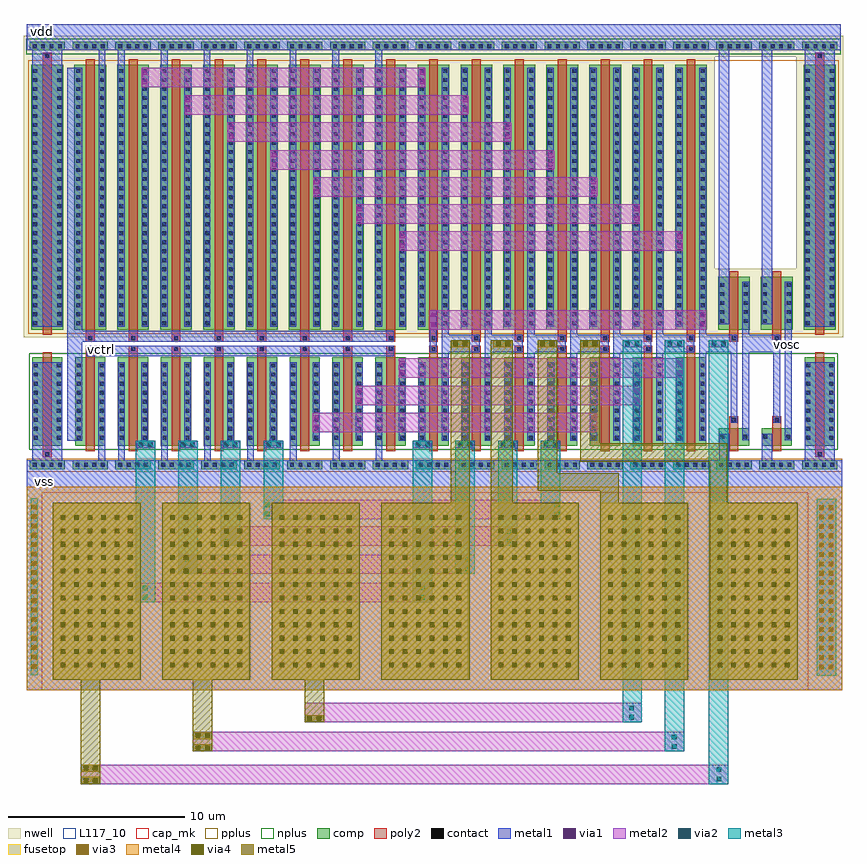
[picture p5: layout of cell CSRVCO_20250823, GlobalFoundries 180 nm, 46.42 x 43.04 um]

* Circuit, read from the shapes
.subckt CSRVCO_20250823 vctrl vdd vosc vss
XM1 vss vss vss vss nfet_03v3 w=5u l=0.5u m=2
XM2 vss vctrl n1 vss nfet_03v3 w=5u l=0.5u
XM3 n2 vctrl vss vss nfet_03v3 w=5u l=0.5u
XM4 n3 vctrl vss vss nfet_03v3 w=5u l=0.5u
XM5 n4 vctrl vss vss nfet_03v3 w=5u l=0.5u
XM6 n5 vctrl vss vss nfet_03v3 w=5u l=0.5u
XM7 n6 vctrl vss vss nfet_03v3 w=5u l=0.5u
XM8 n7 vctrl vss vss nfet_03v3 w=5u l=0.5u
XM9 n8 vctrl vss vss nfet_03v3 w=5u l=0.5u
XM10 n9 n10 n2 vss nfet_03v3 w=5u l=0.5u
XM11 n11 n9 n3 vss nfet_03v3 w=5u l=0.5u
XM12 n12 n11 n4 vss nfet_03v3 w=5u l=0.5u
XM13 n13 n12 n5 vss nfet_03v3 w=5u l=0.5u
XM14 n14 n13 n6 vss nfet_03v3 w=5u l=0.5u
XM15 n15 n14 n7 vss nfet_03v3 w=5u l=0.5u
XM16 n10 n15 n8 vss nfet_03v3 w=5u l=0.5u
XM17 n16 n10 vss vss nfet_03v3 w=1u l=0.5u
XM18 vosc n16 vss vss nfet_03v3 w=1u l=0.5u
XM19 vdd vdd vdd vdd pfet_03v3 w=15u l=0.5u m=2
XM20 vdd n1 n1 vdd pfet_03v3 w=15u l=0.5u
XM21 n17 n1 vdd vdd pfet_03v3 w=15u l=0.5u
XM22 n18 n1 vdd vdd pfet_03v3 w=15u l=0.5u
XM23 n19 n1 vdd vdd pfet_03v3 w=15u l=0.5u
XM24 n20 n1 vdd vdd pfet_03v3 w=15u l=0.5u
XM25 n21 n1 vdd vdd pfet_03v3 w=15u l=0.5u
XM26 n22 n1 vdd vdd pfet_03v3 w=15u l=0.5u
XM27 n23 n1 vdd vdd pfet_03v3 w=15u l=0.5u
XM28 n9 n10 n17 vdd pfet_03v3 w=15u l=0.5u
XM29 n11 n9 n18 vdd pfet_03v3 w=15u l=0.5u
XM30 n12 n11 n19 vdd pfet_03v3 w=15u l=0.5u
XM31 n13 n12 n20 vdd pfet_03v3 w=15u l=0.5u
XM32 n14 n13 n21 vdd pfet_03v3 w=15u l=0.5u
XM33 n15 n14 n22 vdd pfet_03v3 w=15u l=0.5u
XM34 n10 n15 n23 vdd pfet_03v3 w=15u l=0.5u
XM35 n16 n10 vdd vdd pfet_03v3 w=3u l=0.5u
XM36 vosc n16 vdd vdd pfet_03v3 w=3u l=0.5u
XC37 n10 vss cap_mim_2f0fF c_width=5u c_length=10u
XC38 n15 vss cap_mim_2f0fF c_width=5u c_length=10u
XC39 n14 vss cap_mim_2f0fF c_width=5u c_length=10u
XC40 n9 vss cap_mim_2f0fF c_width=5u c_length=10u
XC41 n11 vss cap_mim_2f0fF c_width=5u c_length=10u
XC42 n12 vss cap_mim_2f0fF c_width=5u c_length=10u
XC43 n13 vss cap_mim_2f0fF c_width=5u c_length=10u
.ends

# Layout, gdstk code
from math import pi, radians
import gdstk
lib = gdstk.Library(unit=1e-6, precision=1e-09)
def R(c, l, rs):  # rectangles x0, y0, x1, y1
    for r in rs: c.add(gdstk.rectangle(r[:2], r[2:], *l))
def A(c, l, x, y, w, h, nx, ny, dx, dy):  # array of equal rectangles
    R(c, l, [(x+i*dx, y+j*dy, x+i*dx+w, y+j*dy+h) for i in range(nx) for j in range(ny)])
nwell = (21, 0)
comp = (22, 0)
poly2 = (30, 0)
pplus = (31, 0)
nplus = (32, 0)
contact = (33, 0)
metal1 = (34, 0)
via1 = (35, 0)
metal2 = (36, 0)
via2 = (38, 0)
via3 = (40, 0)
via4 = (41, 0)
metal3 = (42, 0)
metal4 = (46, 0)
fusetop = (75, 0)
metal5 = (81, 0)
cap_mk = (117, 5)
L117_10 = (117, 10)

via_dev_890 = lib.new_cell('via_dev$890')
R(via_dev_890, comp, [(0,0,2,0.5)])
A(via_dev_890, contact, 0.17, 0.14, 0.22, 0.22, 4, 1, 0.48, 0)
R(via_dev_890, metal1, [(0,0,2,0.5)])

nfet_300 = lib.new_cell('nfet$300')
R(nfet_300, comp, [(-0.42,0,0,5), (0,0,0.88,5), (0.88,0,1.3,5)])
R(nfet_300, poly2, [(0.19,-0.3,0.69,5.3), (0.19,5.3,0.69,5.66)])
R(nfet_300, nplus, [(-0.59,-0.24,1.47,5.24)])
A(nfet_300, contact, -0.32, 0.35, 0.22, 0.22, 1, 9, 0, 0.51)
A(nfet_300, contact, 0.98, 0.35, 0.22, 0.22, 1, 9, 0, 0.51)
R(nfet_300, contact, [(0.33,5.37,0.55,5.59)])
R(nfet_300, metal1, [(-0.4,0.27,-0.02,4.73), (0.9,0.27,1.28,4.73), (0.25,5.29,0.63,5.67)])

pfet_280 = lib.new_cell('pfet$280')
R(pfet_280, nwell, [(-0.9,-0.44,1.78,15.44)])
R(pfet_280, comp, [(-0.46,0,0,15), (0,0,0.88,15), (0.88,0,1.34,15)])
R(pfet_280, poly2, [(0.19,-0.68,0.69,-0.3), (0.19,-0.3,0.69,15.3)])
R(pfet_280, pplus, [(-0.63,-0.24,1.51,15.24)])
A(pfet_280, contact, -0.34, 0.25, 0.22, 0.22, 1, 29, 0, 0.51)
A(pfet_280, contact, 1, 0.25, 0.22, 0.22, 1, 29, 0, 0.51)
R(pfet_280, contact, [(0.33,-0.6,0.55,-0.38)])
R(pfet_280, metal1, [(0.25,-0.68,0.63,-0.3), (-0.42,0.17,-0.04,14.83), (0.92,0.17,1.3,14.83)])

nfet_301 = lib.new_cell('nfet$301')
R(nfet_301, comp, [(-0.42,0,0,5), (0,0,0.88,5), (0.88,0,1.3,5)])
R(nfet_301, poly2, [(0.19,-0.66,0.69,-0.3), (0.19,-0.3,0.69,5.3)])
R(nfet_301, nplus, [(-0.59,-0.24,1.47,5.24)])
A(nfet_301, contact, -0.32, 0.35, 0.22, 0.22, 1, 9, 0, 0.51)
A(nfet_301, contact, 0.98, 0.35, 0.22, 0.22, 1, 9, 0, 0.51)
R(nfet_301, contact, [(0.33,-0.59,0.55,-0.37)])
R(nfet_301, metal1, [(0.25,-0.67,0.63,-0.29), (-0.4,0.27,-0.02,4.73), (0.9,0.27,1.28,4.73)])

via_dev_891 = lib.new_cell('via_dev$891')
R(via_dev_891, metal1, [(0,0,1.1,0.4)])
R(via_dev_891, via1, [(0.155,0.07,0.415,0.33), (0.685,0.07,0.945,0.33)])
R(via_dev_891, metal2, [(0,0,1.1,0.4)])

via_dev_892 = lib.new_cell('via_dev$892')
R(via_dev_892, metal1, [(0,0,1.1,0.4)])
R(via_dev_892, via1, [(0.155,0.07,0.415,0.33), (0.685,0.07,0.945,0.33)])
R(via_dev_892, metal2, [(0,0,1.1,0.4)])
R(via_dev_892, via2, [(0.155,0.07,0.415,0.33), (0.685,0.07,0.945,0.33)])
R(via_dev_892, metal3, [(0,0,1.1,0.4)])

cap_mim = lib.new_cell('cap_mim')
A(cap_mim, via4, 0.69, 0.47, 0.26, 0.26, 12, 6, 0.76, 0.76)
R(cap_mim, metal4, [(-0.6,-0.6,10.6,5.6)])
R(cap_mim, fusetop, [(0,0,10,5)])
R(cap_mim, metal5, [(0,0,10,5)])
R(cap_mim, cap_mk, [(-0.6,-0.6,10.6,5.6)])
R(cap_mim, L117_10, [(0,0,10,0.1)])

pfet_281 = lib.new_cell('pfet$281')
R(pfet_281, nwell, [(-0.9,-0.44,1.78,15.44)])
R(pfet_281, comp, [(-0.46,0,0,15), (0,0,0.88,15), (0.88,0,1.34,15)])
R(pfet_281, poly2, [(0.19,-0.3,0.69,15.3), (0.19,15.3,0.69,15.68)])
R(pfet_281, pplus, [(-0.63,-0.24,1.51,15.24)])
A(pfet_281, contact, -0.34, 0.25, 0.22, 0.22, 1, 29, 0, 0.51)
A(pfet_281, contact, 1, 0.25, 0.22, 0.22, 1, 29, 0, 0.51)
R(pfet_281, contact, [(0.33,15.38,0.55,15.6)])
R(pfet_281, metal1, [(-0.42,0.17,-0.04,14.83), (0.92,0.17,1.3,14.83), (0.25,15.3,0.63,15.68)])

via_dev_893 = lib.new_cell('via_dev$893')
R(via_dev_893, metal1, [(0,0,1.1,0.4)])
R(via_dev_893, via1, [(0.155,0.07,0.415,0.33), (0.685,0.07,0.945,0.33)])
R(via_dev_893, metal2, [(0,0,1.1,0.4)])
R(via_dev_893, via2, [(0.155,0.07,0.415,0.33), (0.685,0.07,0.945,0.33)])
R(via_dev_893, via3, [(0.155,0.07,0.415,0.33), (0.685,0.07,0.945,0.33)])
R(via_dev_893, via4, [(0.155,0.07,0.415,0.33), (0.685,0.07,0.945,0.33)])
R(via_dev_893, metal3, [(0,0,1.1,0.4)])
R(via_dev_893, metal4, [(0,0,1.1,0.4)])
R(via_dev_893, metal5, [(0,0,1.1,0.4)])

pfet_282 = lib.new_cell('pfet$282')
R(pfet_282, nwell, [(-0.9,-0.44,1.78,3.44)])
R(pfet_282, comp, [(-0.46,0,0,3), (0,0,0.88,3), (0.88,0,1.34,3)])
R(pfet_282, poly2, [(0.19,-0.68,0.69,-0.3), (0.19,-0.3,0.69,3.3)])
R(pfet_282, pplus, [(-0.63,-0.24,1.51,3.24)])
A(pfet_282, contact, -0.34, 0.37, 0.22, 0.22, 1, 5, 0, 0.51)
A(pfet_282, contact, 1, 0.37, 0.22, 0.22, 1, 5, 0, 0.51)
R(pfet_282, contact, [(0.33,-0.6,0.55,-0.38)])
R(pfet_282, metal1, [(0.25,-0.68,0.63,-0.3), (-0.42,0.29,-0.04,2.71), (0.92,0.29,1.3,2.71)])

via_dev_894 = lib.new_cell('via_dev$894')

via_dev_895 = lib.new_cell('via_dev$895')
R(via_dev_895, metal2, [(0,0,1.1,0.4)])
R(via_dev_895, via2, [(0.155,0.07,0.415,0.33), (0.685,0.07,0.945,0.33)])
R(via_dev_895, metal3, [(0,0,1.1,0.4)])

via_dev_896 = lib.new_cell('via_dev$896')
R(via_dev_896, metal1, [(0,0,10,0.4)])
A(via_dev_896, via1, 0.365, 0.07, 0.26, 0.26, 18, 1, 0.53, 0)
R(via_dev_896, metal2, [(0,0,10,0.4)])
A(via_dev_896, via2, 0.365, 0.07, 0.26, 0.26, 18, 1, 0.53, 0)
A(via_dev_896, via3, 0.365, 0.07, 0.26, 0.26, 18, 1, 0.53, 0)
R(via_dev_896, metal3, [(0,0,10,0.4)])
R(via_dev_896, metal4, [(0,0,10,0.4)])

via_dev_897 = lib.new_cell('via_dev$897')
R(via_dev_897, metal2, [(0,0,1.1,0.4)])
R(via_dev_897, via2, [(0.155,0.07,0.415,0.33), (0.685,0.07,0.945,0.33)])
R(via_dev_897, via3, [(0.155,0.07,0.415,0.33), (0.685,0.07,0.945,0.33)])
R(via_dev_897, via4, [(0.155,0.07,0.415,0.33), (0.685,0.07,0.945,0.33)])
R(via_dev_897, metal3, [(0,0,1.1,0.4)])
R(via_dev_897, metal4, [(0,0,1.1,0.4)])
R(via_dev_897, metal5, [(0,0,1.1,0.4)])

nfet_302 = lib.new_cell('nfet$302')
R(nfet_302, comp, [(-0.42,0,0,1), (0,0,0.88,1), (0.88,0,1.3,1)])
R(nfet_302, poly2, [(0.19,-0.3,0.69,1.3), (0.19,1.3,0.69,1.66)])
R(nfet_302, nplus, [(-0.59,-0.24,1.47,1.24)])
R(nfet_302, contact, [(-0.32,0.39,-0.1,0.61), (0.98,0.39,1.2,0.61), (0.33,1.37,0.55,1.59)])
R(nfet_302, metal1, [(-0.4,0.31,-0.02,0.69), (0.9,0.31,1.28,0.69), (0.25,1.29,0.63,1.67)])

via_dev_898 = lib.new_cell('via_dev$898')
R(via_dev_898, metal1, [(0,0,10,1.1)])
A(via_dev_898, via1, 0.365, 0.155, 0.26, 0.26, 18, 2, 0.53, 0.53)
R(via_dev_898, metal2, [(0,0,10,1.1)])
A(via_dev_898, via2, 0.365, 0.155, 0.26, 0.26, 18, 2, 0.53, 0.53)
A(via_dev_898, via3, 0.365, 0.155, 0.26, 0.26, 18, 2, 0.53, 0.53)
R(via_dev_898, metal3, [(0,0,10,1.1)])
R(via_dev_898, metal4, [(0,0,10,1.1)])

csrvco_20250823 = lib.new_cell('CSRVCO_20250823')
A(csrvco_20250823, nwell, -82.58, 23.08, 2.68, 1.185, 19, 1, 2.43, 0)
A(csrvco_20250823, pplus, -82.39, -0.415, 2.435, 0.75, 19, 1, 2.43, 0)
A(csrvco_20250823, pplus, -80.17, 7.4, 0.29, 15.48, 18, 1, 2.43, 0)
R(csrvco_20250823, pplus, [(-43.43,10.88,-41.29,22.88), (-41,10.88,-38.86,22.88)])
A(csrvco_20250823, nplus, -80.21, 0.82, 0.37, 5.48, 18, 1, 2.43, 0)
A(csrvco_20250823, nplus, -82.425, 23.24, 2.385, 0.865, 19, 1, 2.43, 0)
A(csrvco_20250823, nplus, -80.04, 23.24, 0.045, 0.865, 18, 1, 2.43, 0)
R(csrvco_20250823, nplus, [(-43.39,2.3,-41.33,6.3), (-40.96,2.3,-38.9,6.3)])
A(csrvco_20250823, metal1, -82.39, -1.275, 2.43, 1.5, 19, 1, 2.43, 0)
A(csrvco_20250823, metal1, -82.39, -0.275, 0.15, 0.5, 19, 2, 2.43, 23.715)
A(csrvco_20250823, metal1, -77.22, -0.275, 0.38, 1.99, 7, 1, 2.43, 0)
A(csrvco_20250823, metal1, -58.91, 1.33, 0.4, 21.14, 7, 1, 2.43, 0)
A(csrvco_20250823, metal1, -59.56, 6.35, 0.38, 0.99, 7, 1, 2.43, 0)
A(csrvco_20250823, metal1, -58.91, 6.35, 2.16, 0.99, 8, 1, 2.43, 0)
A(csrvco_20250823, metal1, -77.24, 19.93, 0.38, 4.01, 7, 1, 2.43, 0)
A(csrvco_20250823, metal1, -82.39, 23.44, 2.35, 1.5, 19, 1, 2.43, 0)
A(csrvco_20250823, metal1, -80.04, 23.44, 0.08, 1.5, 18, 1, 2.43, 0)
R(csrvco_20250823, metal1, [(-82.39,-12.78,-36.22,-1.275), (-82.08,-0.275,-80.4,5.79), (-78.35,-0.275,-77.97,1.715), (-43.2,-0.275,-42.61,1.75), (-40.77,-0.275,-40.185,1.75), (-38.34,-0.275,-36.66,5.79), (-80.095,1.33,-79.27,22.47), (-41.9,1.37,-41.5,10.35), (-39.47,1.37,-39.07,10.35), (-42.55,2.35,-42.17,7.34), (-40.12,2.35,-39.74,7.34), (-79,6.115,-61.61,6.73), (-59.58,6.35,-59.18,7.64), (-80.095,6.96,-61.61,7.575), (-82.1,7.81,-80.38,23.94), (-38.36,7.81,-36.64,23.94), (-43.22,7.93,-42.61,23.94), (-40.79,7.93,-40.18,23.94), (-78.33,19.935,-77.95,23.945)])
R(csrvco_20250823, metal2, [(-79.34,-18.095,-42.67,-16.995), (-72.99,-16.245,-45.165,-15.145), (-66.67,-14.6,-47.565,-13.5), (-76.225,-7.805,-59.435,-6.705), (-73.825,-6.2,-57.03,-5.1), (-71.415,-4.61,-54.615,-3.51), (-68.97,-3.095,-52.19,-1.995), (-66.2,1.835,-50.11,2.94), (-63.77,3.365,-47.68,4.47), (-61.34,4.92,-45.25,6.025), (-59.58,7.64,-43.93,8.74), (-61.32,12.105,-45.25,13.21), (-63.75,13.64,-47.68,14.745), (-66.18,15.17,-50.11,16.275), (-68.61,16.695,-52.54,17.8), (-71.04,18.28,-54.97,19.385), (-73.465,19.81,-57.395,20.915), (-75.9,21.37,-59.83,22.475)])
R(csrvco_20250823, metal3, [(-43.77,-18.095,-42.67,6.635), (-46.265,-16.245,-45.165,6.635), (-48.665,-14.6,-47.565,7.035), (-76.225,-7.805,-75.125,0.93), (-60.535,-7.805,-59.435,0.93), (-73.825,-6.2,-72.725,1.33), (-58.13,-6.2,-57.03,0.93), (-71.415,-4.61,-70.315,1.33), (-55.71,-4.61,-54.615,1.33), (-68.97,-3.095,-67.87,1.33), (-53.29,-3.095,-52.19,1.33)])
R(csrvco_20250823, metal4, [(-82.39,-12.78,-36.22,-1.275)])
R(csrvco_20250823, metal5, [(-79.34,-18.095,-78.24,-12.18), (-72.99,-16.245,-71.89,-12.18), (-66.67,-14.6,-65.57,-12.18), (-58.405,-12.18,-57.305,7.035), (-56.14,-2.18,-54.88,7.035), (-49.94,-2.18,-48.885,-1.5), (-43.74,-2.18,-42.73,0.145), (-53.475,-1.5,-52.375,6.635), (-53.475,-1.5,-48.885,-0.495), (-51.055,0.145,-49.955,6.635), (-51.055,0.145,-42.73,1.205)])
csrvco_20250823.add(gdstk.Reference(via_dev_890, (-60.37,23.44)))
csrvco_20250823.add(gdstk.Reference(via_dev_890, (-60.37,-0.275)))
csrvco_20250823.add(gdstk.Reference(nfet_300, (-52.52,1.06)))
csrvco_20250823.add(gdstk.Reference(nfet_300, (-54.95,1.06)))
csrvco_20250823.add(gdstk.Reference(nfet_300, (-57.38,1.06)))
csrvco_20250823.add(gdstk.Reference(pfet_280, (-59.81,7.64)))
csrvco_20250823.add(gdstk.Reference(nfet_300, (-59.81,1.06)))
csrvco_20250823.add(gdstk.Reference(nfet_300, (-45.23,1.06)))
csrvco_20250823.add(gdstk.Reference(nfet_300, (-50.09,1.06)))
csrvco_20250823.add(gdstk.Reference(nfet_301, (-37.94,1.06)))
csrvco_20250823.add(gdstk.Reference(nfet_300, (-74.39,1.06)))
csrvco_20250823.add(gdstk.Reference(nfet_300, (-76.82,1.06)))
csrvco_20250823.add(gdstk.Reference(nfet_300, (-79.25,1.06)))
csrvco_20250823.add(gdstk.Reference(nfet_301, (-81.68,1.06)))
csrvco_20250823.add(gdstk.Reference(nfet_300, (-64.67,1.06)))
csrvco_20250823.add(gdstk.Reference(nfet_300, (-67.1,1.06)))
csrvco_20250823.add(gdstk.Reference(nfet_300, (-69.53,1.06)))
csrvco_20250823.add(gdstk.Reference(nfet_300, (-71.96,1.06)))
csrvco_20250823.add(gdstk.Reference(nfet_300, (-62.24,1.06)))
csrvco_20250823.add(gdstk.Reference(nfet_300, (-47.66,1.06)))
csrvco_20250823.add(gdstk.Reference(via_dev_891, (-50.11,1.835), rotation=pi/2))
csrvco_20250823.add(gdstk.Reference(via_dev_891, (-65.8,1.84), rotation=pi/2))
csrvco_20250823.add(gdstk.Reference(via_dev_892, (-60.535,0.93)))
csrvco_20250823.add(gdstk.Reference(cap_mim, (-57.34,-12.18), rotation=pi/2))
csrvco_20250823.add(gdstk.Reference(via_dev_892, (-46.265,6.635)))
csrvco_20250823.add(gdstk.Reference(pfet_280, (-52.52,7.64)))
csrvco_20250823.add(gdstk.Reference(pfet_281, (-37.94,7.64)))
csrvco_20250823.add(gdstk.Reference(via_dev_890, (-55.51,23.44)))
csrvco_20250823.add(gdstk.Reference(via_dev_890, (-38.5,23.44)))
csrvco_20250823.add(gdstk.Reference(via_dev_893, (-53.475,6.635)))
csrvco_20250823.add(gdstk.Reference(pfet_280, (-57.38,7.64)))
csrvco_20250823.add(gdstk.Reference(via_dev_893, (-57.305,7.035), rotation=pi))
csrvco_20250823.add(gdstk.Reference(pfet_280, (-45.23,7.64)))
csrvco_20250823.add(gdstk.Reference(via_dev_890, (-57.94,23.44)))
csrvco_20250823.add(gdstk.Reference(via_dev_893, (-51.055,6.635)))
csrvco_20250823.add(gdstk.Reference(via_dev_892, (-43.77,6.635)))
csrvco_20250823.add(gdstk.Reference(via_dev_890, (-53.08,23.44)))
csrvco_20250823.add(gdstk.Reference(via_dev_893, (-55.98,6.635)))
csrvco_20250823.add(gdstk.Reference(via_dev_892, (-48.665,6.635)))
csrvco_20250823.add(gdstk.Reference(via_dev_890, (-50.65,23.44)))
csrvco_20250823.add(gdstk.Reference(via_dev_890, (-43.36,23.44)))
csrvco_20250823.add(gdstk.Reference(pfet_282, (-42.8,7.64)))
csrvco_20250823.add(gdstk.Reference(via_dev_890, (-40.93,23.44)))
csrvco_20250823.add(gdstk.Reference(pfet_282, (-40.37,7.64)))
csrvco_20250823.add(gdstk.Reference(pfet_280, (-54.95,7.64)))
csrvco_20250823.add(gdstk.Reference(via_dev_891, (-59.18,7.64), rotation=pi/2))
csrvco_20250823.add(gdstk.Reference(via_dev_891, (-43.93,7.64), rotation=pi/2))
csrvco_20250823.add(gdstk.Reference(via_dev_891, (-57.395,19.81), rotation=pi/2))
csrvco_20250823.add(gdstk.Reference(via_dev_891, (-54.97,18.28), rotation=pi/2))
csrvco_20250823.add(gdstk.Reference(via_dev_891, (-52.54,16.695), rotation=pi/2))
csrvco_20250823.add(gdstk.Reference(via_dev_891, (-50.11,15.17), rotation=pi/2))
csrvco_20250823.add(gdstk.Reference(via_dev_891, (-47.68,13.64), rotation=pi/2))
csrvco_20250823.add(gdstk.Reference(via_dev_891, (-45.25,12.105), rotation=pi/2))
csrvco_20250823.add(gdstk.Reference(via_dev_891, (-45.25,4.92), rotation=pi/2))
csrvco_20250823.add(gdstk.Reference(via_dev_891, (-47.68,3.365), rotation=pi/2))
csrvco_20250823.add(gdstk.Reference(via_dev_890, (-45.79,23.44)))
csrvco_20250823.add(gdstk.Reference(pfet_280, (-47.66,7.64)))
csrvco_20250823.add(gdstk.Reference(via_dev_890, (-48.22,23.44)))
csrvco_20250823.add(gdstk.Reference(pfet_280, (-50.09,7.64)))
csrvco_20250823.add(gdstk.Reference(pfet_280, (-76.82,7.64)))
csrvco_20250823.add(gdstk.Reference(via_dev_890, (-72.52,23.44)))
csrvco_20250823.add(gdstk.Reference(pfet_280, (-64.67,7.64)))
csrvco_20250823.add(gdstk.Reference(pfet_280, (-74.39,7.64)))
csrvco_20250823.add(gdstk.Reference(via_dev_890, (-77.38,23.44)))
csrvco_20250823.add(gdstk.Reference(via_dev_890, (-65.23,23.44)))
csrvco_20250823.add(gdstk.Reference(via_dev_891, (-75.5,21.375), rotation=pi/2))
csrvco_20250823.add(gdstk.Reference(via_dev_891, (-59.83,21.37), rotation=pi/2))
csrvco_20250823.add(gdstk.Reference(via_dev_891, (-73.065,19.815), rotation=pi/2))
csrvco_20250823.add(gdstk.Reference(pfet_280, (-67.1,7.64)))
csrvco_20250823.add(gdstk.Reference(via_dev_891, (-70.64,18.285), rotation=pi/2))
csrvco_20250823.add(gdstk.Reference(pfet_280, (-79.25,7.64)))
csrvco_20250823.add(gdstk.Reference(via_dev_891, (-68.21,16.7), rotation=pi/2))
csrvco_20250823.add(gdstk.Reference(via_dev_890, (-67.66,23.44)))
csrvco_20250823.add(gdstk.Reference(via_dev_891, (-65.78,15.175), rotation=pi/2))
csrvco_20250823.add(gdstk.Reference(pfet_280, (-69.53,7.64)))
csrvco_20250823.add(gdstk.Reference(via_dev_891, (-63.35,13.645), rotation=pi/2))
csrvco_20250823.add(gdstk.Reference(via_dev_890, (-82.24,23.44)))
csrvco_20250823.add(gdstk.Reference(via_dev_891, (-60.92,12.11), rotation=pi/2))
csrvco_20250823.add(gdstk.Reference(via_dev_890, (-70.09,23.44)))
csrvco_20250823.add(gdstk.Reference(via_dev_891, (-60.94,4.925), rotation=pi/2))
csrvco_20250823.add(gdstk.Reference(pfet_280, (-71.96,7.64)))
csrvco_20250823.add(gdstk.Reference(via_dev_891, (-63.37,3.37), rotation=pi/2))
csrvco_20250823.add(gdstk.Reference(via_dev_890, (-74.95,23.44)))
csrvco_20250823.add(gdstk.Reference(pfet_280, (-62.24,7.64)))
csrvco_20250823.add(gdstk.Reference(via_dev_890, (-79.81,23.44)))
csrvco_20250823.add(gdstk.Reference(via_dev_890, (-62.8,23.44)))
csrvco_20250823.add(gdstk.Reference(pfet_281, (-81.68,7.64)))
csrvco_20250823.add(gdstk.Reference(via_dev_890, (-79.81,-0.275)))
csrvco_20250823.add(gdstk.Reference(via_dev_890, (-62.8,-0.275)))
csrvco_20250823.add(gdstk.Reference(via_dev_890, (-67.66,-0.275)))
csrvco_20250823.add(gdstk.Reference(via_dev_890, (-72.52,-0.275)))
csrvco_20250823.add(gdstk.Reference(via_dev_890, (-77.38,-0.275)))
csrvco_20250823.add(gdstk.Reference(via_dev_894, (-83.04,-0.865), rotation=pi/2))
csrvco_20250823.add(gdstk.Reference(via_dev_890, (-70.09,-0.275)))
csrvco_20250823.add(gdstk.Reference(via_dev_894, (-80.61,-0.865), rotation=pi/2))
csrvco_20250823.add(gdstk.Reference(via_dev_890, (-65.23,-0.275)))
csrvco_20250823.add(gdstk.Reference(via_dev_892, (-68.97,0.93)))
csrvco_20250823.add(gdstk.Reference(via_dev_892, (-71.415,0.93)))
csrvco_20250823.add(gdstk.Reference(via_dev_892, (-73.825,0.93)))
csrvco_20250823.add(gdstk.Reference(via_dev_892, (-76.225,0.93)))
csrvco_20250823.add(gdstk.Reference(via_dev_895, (-68.565,-3.095), rotation=pi/2))
csrvco_20250823.add(gdstk.Reference(via_dev_895, (-70.855,-4.61), rotation=pi/2))
csrvco_20250823.add(gdstk.Reference(via_dev_895, (-73.135,-6.2), rotation=pi/2))
csrvco_20250823.add(gdstk.Reference(via_dev_895, (-59.76,-7.805), rotation=pi/2))
csrvco_20250823.add(gdstk.Reference(via_dev_895, (-75.49,-7.805), rotation=pi/2))
csrvco_20250823.add(gdstk.Reference(via_dev_890, (-82.24,-0.275)))
csrvco_20250823.add(gdstk.Reference(cap_mim, (-63.54,-12.18), rotation=pi/2))
csrvco_20250823.add(gdstk.Reference(cap_mim, (-69.74,-12.18), rotation=pi/2))
csrvco_20250823.add(gdstk.Reference(cap_mim, (-75.94,-12.18), rotation=pi/2))
csrvco_20250823.add(gdstk.Reference(via_dev_896, (-81.78,-11.925), rotation=pi/2))
csrvco_20250823.add(gdstk.Reference(via_dev_897, (-72.99,-16.245)))
csrvco_20250823.add(gdstk.Reference(via_dev_897, (-72.99,-15.56)))
csrvco_20250823.add(gdstk.Reference(via_dev_897, (-66.67,-14.595)))
csrvco_20250823.add(gdstk.Reference(via_dev_897, (-79.34,-18.095)))
csrvco_20250823.add(gdstk.Reference(via_dev_897, (-79.34,-17.395)))
csrvco_20250823.add(gdstk.Reference(via_dev_890, (-74.95,-0.275)))
csrvco_20250823.add(gdstk.Reference(via_dev_895, (-52.19,-3.095), rotation=pi/2))
csrvco_20250823.add(gdstk.Reference(via_dev_895, (-45.535,-16.245), rotation=pi/2))
csrvco_20250823.add(gdstk.Reference(via_dev_895, (-54.9,-4.61), rotation=pi/2))
csrvco_20250823.add(gdstk.Reference(via_dev_890, (-55.51,-0.275)))
csrvco_20250823.add(gdstk.Reference(via_dev_895, (-57.235,-6.2), rotation=pi/2))
csrvco_20250823.add(gdstk.Reference(via_dev_890, (-57.94,-0.275)))
csrvco_20250823.add(gdstk.Reference(via_dev_890, (-48.22,-0.275)))
csrvco_20250823.add(gdstk.Reference(via_dev_890, (-43.36,-0.275)))
csrvco_20250823.add(gdstk.Reference(cap_mim, (-38.74,-12.18), rotation=pi/2))
csrvco_20250823.add(gdstk.Reference(cap_mim, (-44.94,-12.18), rotation=pi/2))
csrvco_20250823.add(gdstk.Reference(cap_mim, (-51.14,-12.18), rotation=pi/2))
csrvco_20250823.add(gdstk.Reference(nfet_302, (-42.8,1.06)))
csrvco_20250823.add(gdstk.Reference(via_dev_890, (-38.5,-0.275)))
csrvco_20250823.add(gdstk.Reference(via_dev_890, (-50.65,-0.275)))
csrvco_20250823.add(gdstk.Reference(via_dev_892, (-53.29,0.93)))
csrvco_20250823.add(gdstk.Reference(via_dev_892, (-55.71,0.93)))
csrvco_20250823.add(gdstk.Reference(via_dev_898, (-36.575,-11.955), rotation=pi/2))
csrvco_20250823.add(gdstk.Reference(via_dev_895, (-43,-18.095), rotation=pi/2))
csrvco_20250823.add(gdstk.Reference(via_dev_892, (-58.13,0.93)))
csrvco_20250823.add(gdstk.Reference(via_dev_890, (-40.93,-0.275)))
csrvco_20250823.add(gdstk.Reference(nfet_302, (-40.37,1.06)))
csrvco_20250823.add(gdstk.Reference(via_dev_890, (-53.08,-0.275)))
csrvco_20250823.add(gdstk.Reference(via_dev_890, (-45.79,-0.275)))
csrvco_20250823.add(gdstk.Reference(via_dev_895, (-47.955,-14.6), rotation=pi/2))
csrvco_20250823.add(gdstk.Label('vctrl', (-78.155,6.53), layer=34, texttype=10))
csrvco_20250823.add(gdstk.Label('vosc', (-39.305,6.79), layer=34, texttype=10))
csrvco_20250823.add(gdstk.Label('vdd', (-81.49,24.515), layer=34, texttype=10))
csrvco_20250823.add(gdstk.Label('vss', (-81.41,-0.945), layer=34, texttype=10))

lib.write_gds('CSRVCO_20250823.gds')
